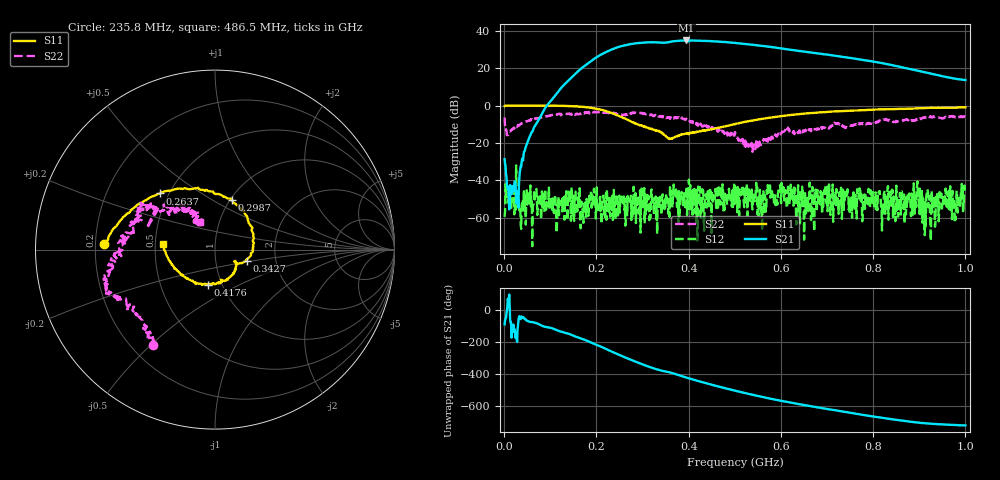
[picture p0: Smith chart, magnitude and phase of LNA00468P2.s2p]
! Created with skrf 1.9.0 (http://scikit-rf.org).
# Hz S RI R 50.0
!freq ReS11 ImS11 ReS21 ImS21 ReS12 ImS12 ReS22 ImS22
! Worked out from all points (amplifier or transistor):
!   1001 points, 1 MHz to 1 GHz, reference 50 ohm
!   highest |S21| = 35.0 dB at 394.6 MHz (marker M1)
!   |S21| within 3 dB of that: 255.5 MHz to 562.7 MHz (307.2 MHz wide, 75.1 % of centre)
!   unconditionally stable (mu >= 1): 195.8 MHz to 214.7 MHz; 214.8 MHz to 237.6 MHz; 237.9 MHz to end of sweep (the widest 3 of 30)
!   at 166.8 MHz: K = 1.58, MAG = 31.7 dB, |S12| = -52.5 dB
!   at 500.5 MHz: K = 1.45, MAG = 34.4 dB, |S12| = -43.1 dB
!   at 1 GHz: K = 1.96, MAG = 22.7 dB, |S12| = -42.9 dB
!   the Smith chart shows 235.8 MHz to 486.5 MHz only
!   S11 on the Smith chart (normalised r, x): 235.8 MHz: 0.24, +0.02; 263.7 MHz: 0.45, +0.35; 298.7 MHz: 1.02, +0.62; 342.7 MHz: 1.41, -0.18; 417.6 MHz: 0.86, -0.35; 486.5 MHz: 0.55, +0.04
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1000000  0.9753 -0.00191  0.00094 -0.0368  0.000407 0.000964  0.3608 0.3241
1.08892e8  0.5326 -0.8417  -0.8514 -1.543  0.00174 -9.83e-05  0.4065 -0.3803
1.67833e8  -0.2105 -0.9068  -10.08 -0.3306  0.000775 -0.00254  -0.0019 -0.6287
2.06794e8  -0.6479 -0.4561  -15.76 15.65  0.00157 0.000956  -0.2238 -0.6279
2.35765e8  -0.617 0.0302  -4.153 32.83  -0.000139 0.000844  -0.3477 -0.5333
2.63737e8  -0.3053 0.3127  19.57 36.98  -0.000481 -0.000591  -0.4903 -0.3319
2.98702e8  0.0942 0.2785  44.96 18.18  -0.00242 0.00524  -0.6182 -0.1372
3.17683e8  0.1993 0.1326  49.84 1.62  -0.000627 0.00136  -0.5588 -0.0631
3.34666e8  0.2095 -0.0139  48 -12.04  -0.00122 0.00295  -0.5061 0.023
3.42658e8  0.1755 -0.063  45.74 -16.8  -0.00168 0.00322  -0.497 0.0516
3.68632e8  0.1176 -0.0782  42.36 -32.89  -0.00114 0.00411  -0.4303 0.2136
3.94606e8  0.0706 -0.1683  26.39 -49.34  0.001 0.00486  -0.3716 0.2469
4.17583e8  -0.0395 -0.1973  8.057 -54.65  0.00282 0.00473  -0.2045 0.2246
4.49551e8  -0.1861 -0.1434  -15.69 -50.97  -0.000197 0.000332  -0.1063 0.2059
4.86514e8  -0.2911 0.0319  -34.83 -35.5  0.0045 0.00217  -0.0831 0.153
5.005e8  -0.2998 0.103  -39.34 -27.98  -0.00643 0.00271  -0.1082 0.1625
5.39461e8  -0.2435 0.3209  -42.2 -6.73  0.00409 4.94e-05  -0.0813 0.0143
5.85415e8  -0.0653 0.4901  -34.41 12.08  0.00188 -0.00103  -0.1446 -0.0238
6.67333e8  0.3264 0.5429  -11.84 23.41  0.000236 -0.00113  -0.2287 0.0226
7.53247e8  0.6301 0.3791  4.745 18.13  0.000669 -0.0034  -0.2801 0.0778
8.34166e8  0.7864 0.1499  9.827 8.015  -0.00322 -0.00122  -0.3857 0.1281
1e9  0.8196 -0.3745  4.869 -0.2009  -0.00707 0.00115  -0.1883 0.4672
